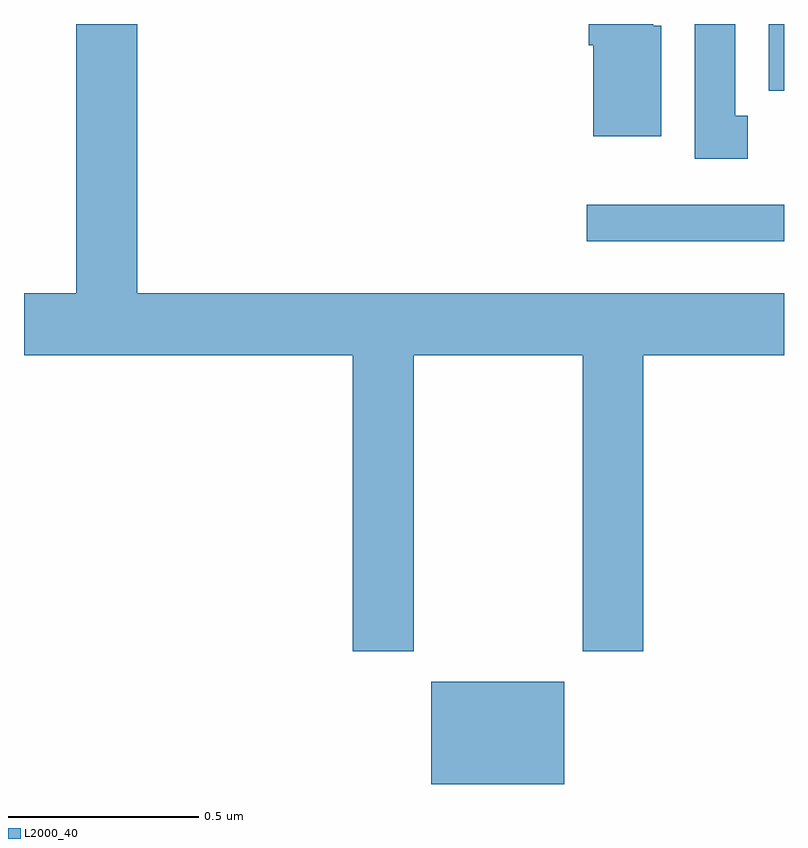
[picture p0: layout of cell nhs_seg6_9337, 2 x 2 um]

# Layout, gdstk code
import gdstk
lib = gdstk.Library(unit=1e-6, precision=1e-09)
def R(c, l, rs):  # rectangles x0, y0, x1, y1
    for r in rs: c.add(gdstk.rectangle(r[:2], r[2:], *l))
def P(c, l, *ps):  # polygons
    for p in ps: c.add(gdstk.Polygon(p, *l))
L2000_40 = (2000, 40)

nhs_seg6_9337 = lib.new_cell('nhs_seg6_9337')
R(nhs_seg6_9337, L2000_40, [(233.072,987.5,233.422,987.769), (233.481,988.928,234,989.025), (233.96,989.324,234,989.5)])
P(nhs_seg6_9337, L2000_40, [(233.025,988.628),(233.47,988.628),(233.47,987.849),(233.63,987.849),(233.63,988.628),(234,988.628),(234,988.792),(232.298,988.792),(232.298,989.5),(232.138,989.5),(232.138,988.792),(232,988.792),(232,988.628),(232.865,988.628),(232.865,987.849),(233.025,987.849)],
  [(233.905,989.258),(233.872,989.258),(233.872,989.5),(233.765,989.5),(233.765,989.145),(233.905,989.145)],
  [(233.677,989.496),(233.656,989.496),(233.656,989.5),(233.486,989.5),(233.486,989.444),(233.498,989.444),(233.498,989.204),(233.677,989.204)])

lib.write_gds('nhs_seg6_9337.gds')
